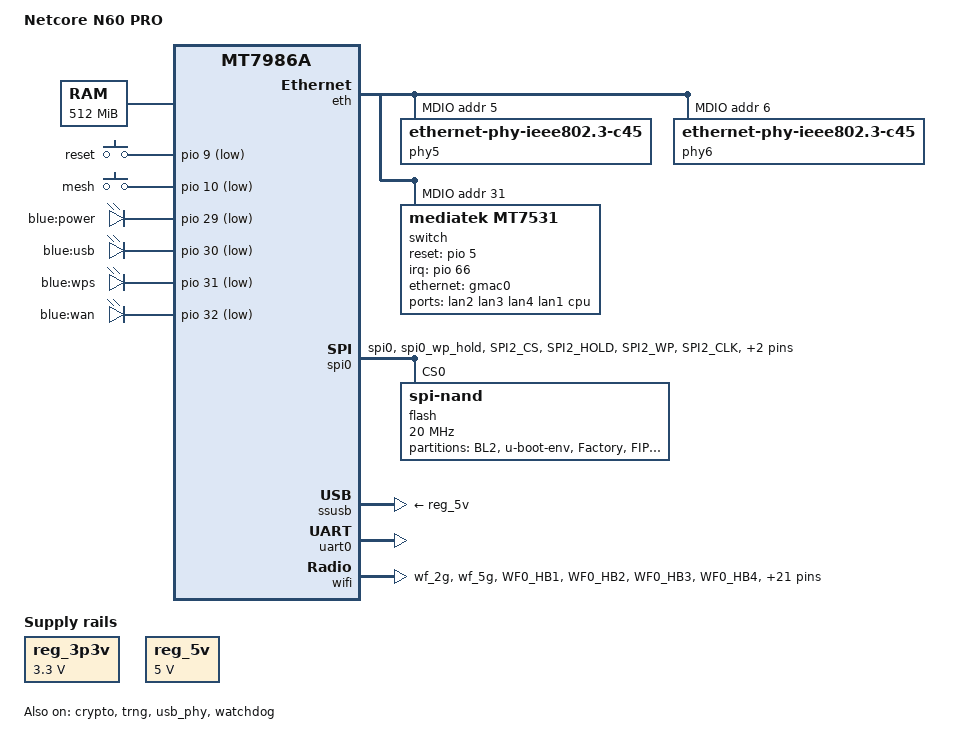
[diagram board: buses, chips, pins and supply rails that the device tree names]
// SPDX-License-Identifier: GPL-2.0-or-later OR MIT

/dts-v1/;
#include <dt-bindings/gpio/gpio.h>
#include <dt-bindings/input/input.h>

#include "mt7986a.dtsi"

/ {
	model = "Netcore N60 PRO";
	compatible = "netcore,n60-pro", "mediatek,mt7986a";

	aliases {
		serial0 = &uart0;
		label-mac-device = &gmac0;
		led-boot = &led_power;
		led-failsafe = &led_power;
		led-running = &led_power;
		led-upgrade = &led_power;
	};

	chosen {
		stdout-path = "serial0:115200n8";
	};

	memory {
		reg = <0 0x40000000 0 0x20000000>;
	};

	keys {
		compatible = "gpio-keys";

		reset {
			label = "reset";
			linux,code = <KEY_RESTART>;
			gpios = <&pio 9 GPIO_ACTIVE_LOW>;
		};

		mesh {
			label = "mesh";
			linux,code = <KEY_WPS_BUTTON>;
			gpios = <&pio 10 GPIO_ACTIVE_LOW>;
		};
	};

	leds {
		compatible = "gpio-leds";

		led_power: power {
			label = "blue:power";
			gpios = <&pio 29 GPIO_ACTIVE_LOW>;
		};

		usb {
			label = "blue:usb";
			gpios = <&pio 30 GPIO_ACTIVE_LOW>;
		};

		wps {
			label = "blue:wps";
			gpios = <&pio 31 GPIO_ACTIVE_LOW>;
		};

		wan {
			label = "blue:wan";
			gpios = <&pio 32 GPIO_ACTIVE_LOW>;
		};
	};

	reg_3p3v: regulator-3p3v {
		compatible = "regulator-fixed";
		regulator-name = "fixed-3.3V";
		regulator-min-microvolt = <3300000>;
		regulator-max-microvolt = <3300000>;
		regulator-boot-on;
		regulator-always-on;
	};

	reg_5v: regulator-5v {
		compatible = "regulator-fixed";
		regulator-name = "fixed-5V";
		regulator-min-microvolt = <5000000>;
		regulator-max-microvolt = <5000000>;
		regulator-boot-on;
		regulator-always-on;
	};
};

&crypto {
	status = "okay";
};

&eth {
	status = "okay";

	gmac0: mac@0 {
		compatible = "mediatek,eth-mac";
		reg = <0>;
		phy-mode = "2500base-x";

		nvmem-cells = <&macaddr_lan>;
		nvmem-cell-names = "mac-address";

		fixed-link {
			speed = <2500>;
			full-duplex;
			pause;
		};
	};

	gmac1: mac@1 {
		compatible = "mediatek,eth-mac";
		reg = <1>;
		phy-handle = <&phy6>;
		phy-mode = "2500base-x";

		nvmem-cells = <&macaddr_wan>;
		nvmem-cell-names = "mac-address";
	};

	mdio: mdio-bus {
		#address-cells = <1>;
		#size-cells = <0>;
	};
};

&mdio {
	reset-delay-us = <600>;
	reset-post-delay-us = <20000>;
	reset-gpios = <&pio 6 GPIO_ACTIVE_LOW>;

	phy5: phy@5 {
		compatible = "ethernet-phy-ieee802.3-c45";
		reg = <5>;
	};

	phy6: phy@6 {
		compatible = "ethernet-phy-ieee802.3-c45";
		reg = <6>;
	};

	switch: switch@0 {
		compatible = "mediatek,mt7531";
		reg = <31>;
		reset-gpios = <&pio 5 GPIO_ACTIVE_HIGH>;
		interrupt-controller;
		#interrupt-cells = <1>;
		interrupt-parent = <&pio>;
		interrupts = <66 IRQ_TYPE_LEVEL_HIGH>;
	};
};

&switch {
	ports {
		#address-cells = <1>;
		#size-cells = <0>;

		port@1 {
			reg = <0>;
			label = "lan2";
		};

		port@3 {
			reg = <3>;
			label = "lan3";
		};

		port@4 {
			reg = <4>;
			label = "lan4";
		};

		port@5 {
			reg = <5>;
			label = "lan1";
			phy-handle = <&phy5>;
			phy-mode = "2500base-x";
		};

		port@6 {
			reg = <6>;
			label = "cpu";
			ethernet = <&gmac0>;
			phy-mode = "2500base-x";

			fixed-link {
				speed = <2500>;
				full-duplex;
				pause;
			};
		};
	};
};

&spi0 {
	pinctrl-names = "default";
	pinctrl-0 = <&spi_flash_pins>;
	status = "okay";

	flash@0 {
		compatible = "spi-nand";
		#address-cells = <1>;
		#size-cells = <1>;
		reg = <0>;

		spi-max-frequency = <20000000>;
		spi-tx-bus-width = <4>;
		spi-rx-bus-width = <4>;

		mediatek,nmbm;
		mediatek,bmt-max-ratio = <1>;
		mediatek,bmt-max-reserved-blocks = <64>;

		partitions {
			compatible = "fixed-partitions";
			#address-cells = <1>;
			#size-cells = <1>;

			partition@0 {
				label = "BL2";
				reg = <0x0000000 0x0100000>;
				read-only;
			};

			partition@100000 {
				label = "u-boot-env";
				reg = <0x0100000 0x0080000>;
			};

			factory: partition@180000 {
				label = "Factory";
				reg = <0x0180000 0x0200000>;
				read-only;
			};

			partition@380000 {
				label = "FIP";
				reg = <0x0380000 0x0200000>;
				read-only;
			};

			partition@580000 {
				label = "ubi";
				reg = <0x0580000 0x7280000>;
			};
		};
	};
};

&pio {
	spi_flash_pins: spi-flash-pins-33-to-38 {
		mux {
			function = "spi";
			groups = "spi0", "spi0_wp_hold";
		};
		conf-pu {
			pins = "SPI2_CS", "SPI2_HOLD", "SPI2_WP";
			drive-strength = <8>;
			mediatek,pull-up-adv = <0>; /* bias-disable */
		};
		conf-pd {
			pins = "SPI2_CLK", "SPI2_MOSI", "SPI2_MISO";
			drive-strength = <8>;
			mediatek,pull-down-adv = <0>; /* bias-disable */
		};
	};

	wf_2g_5g_pins: wf_2g_5g-pins {
		mux {
			function = "wifi";
			groups = "wf_2g", "wf_5g";
		};
		conf {
			pins = "WF0_HB1", "WF0_HB2", "WF0_HB3", "WF0_HB4",
			       "WF0_HB0", "WF0_HB0_B", "WF0_HB5", "WF0_HB6",
			       "WF0_HB7", "WF0_HB8", "WF0_HB9", "WF0_HB10",
			       "WF0_TOP_CLK", "WF0_TOP_DATA", "WF1_HB1",
			       "WF1_HB2", "WF1_HB3", "WF1_HB4", "WF1_HB0",
			       "WF1_HB5", "WF1_HB6", "WF1_HB7", "WF1_HB8",
			       "WF1_TOP_CLK", "WF1_TOP_DATA";
			drive-strength = <4>;
		};
	};
};

&ssusb {
	vusb33-supply = <&reg_3p3v>;
	vbus-supply = <&reg_5v>;
	status = "okay";
};

&trng {
	status = "okay";
};

&uart0 {
	status = "okay";
};

&usb_phy {
	status = "okay";
};

&watchdog {
	status = "okay";
};

&wifi {
	status = "okay";
	pinctrl-names = "default";
	pinctrl-0 = <&wf_2g_5g_pins>;

	mediatek,mtd-eeprom = <&factory 0x0>;
};

&factory {
	compatible = "nvmem-cells";
	#address-cells = <1>;
	#size-cells = <1>;

	macaddr_lan: macaddr@1fef20 {
		reg = <0x1fef20 0x6>;
	};

	macaddr_wan: macaddr@1fef26 {
		reg = <0x1fef26 0x6>;
	};
};
